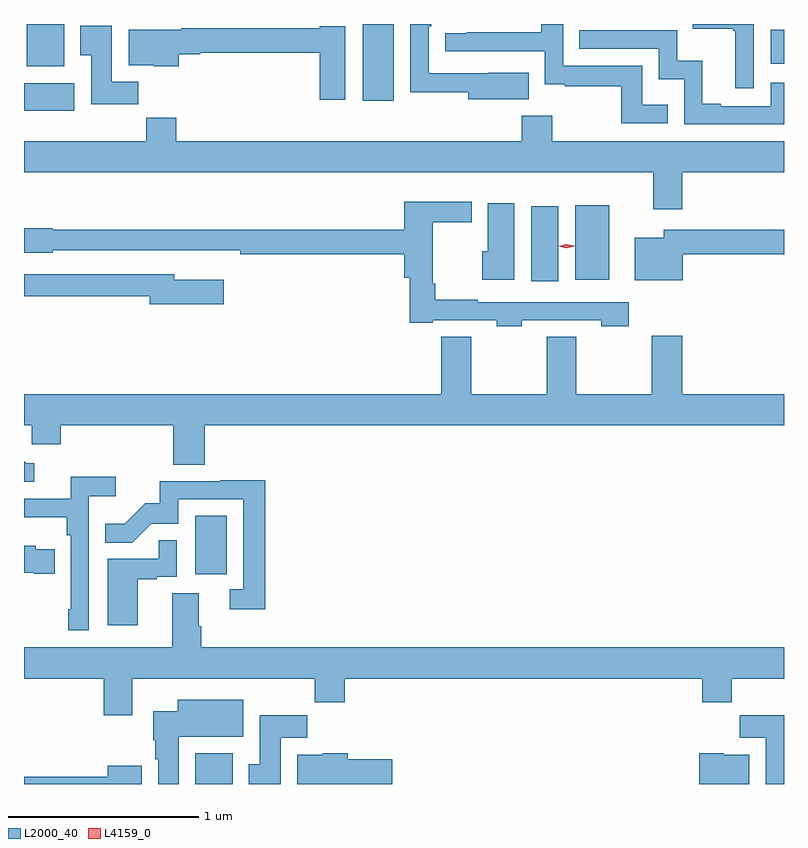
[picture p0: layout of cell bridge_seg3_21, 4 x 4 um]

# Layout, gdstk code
import gdstk
lib = gdstk.Library(unit=1e-6, precision=1e-09)
def R(c, l, rs):  # rectangles x0, y0, x1, y1
    for r in rs: c.add(gdstk.rectangle(r[:2], r[2:], *l))
def P(c, l, *ps):  # polygons
    for p in ps: c.add(gdstk.Polygon(p, *l))
L2000_40 = (2000, 40)
L4159_0 = (4159, 0)

bridge_seg3_21 = lib.new_cell('bridge_seg3_21')
R(bridge_seg3_21, L2000_40, [(838.466,744.317,838.663,744.478), (838.466,745.422,838.63,745.729), (840.233,746.964,840.376,747.358), (840.464,746.972,840.643,747.364), (837.564,747.86,837.829,748.006), (839.348,747.912,839.509,748.317), (837.579,748.094,837.775,748.317), (841.494,748.107,841.564,748.287)])
P(bridge_seg3_21, L2000_40, [(840.953,747.892),(840.819,747.892),(840.819,748.098),(840.402,748.098),(840.402,748.317),(840.286,748.317),(840.286,748.274),(839.893,748.274),(839.893,748.269),(839.781,748.269),(839.781,748.173),(840.306,748.173),(840.306,748.001),(840.409,748.001),(840.409,747.99),(840.708,747.99),(840.708,747.795),(840.953,747.795)],
  [(841.404,748.317),(841.083,748.317),(841.083,748.292),(841.296,748.292),(841.296,748.281),(841.307,748.281),(841.307,747.978),(841.404,747.978)],
  [(840.221,748.06),(840.007,748.06),(840.007,748.059),(839.694,748.059),(839.694,748.304),(839.708,748.304),(839.708,748.317),(839.598,748.317),(839.598,747.958),(839.903,747.958),(839.903,747.92),(840.221,747.92)],
  [(838.166,748.012),(838.027,748.012),(838.027,748.309),(837.86,748.309),(837.86,748.153),(837.917,748.153),(837.917,747.894),(838.166,747.894)],
  [(839.254,748.306),(839.12,748.306),(839.12,748.295),(838.391,748.295),(838.391,748.288),(838.115,748.288),(838.115,748.1),(838.248,748.1),(838.248,748.094),(838.379,748.094),(838.379,748.159),(838.491,748.159),(838.491,748.167),(839.12,748.167),(839.12,747.918),(839.254,747.918)],
  [(841.564,748.008),(841.494,748.008),(841.494,747.885),(841.231,747.885),(841.231,747.898),(841.135,747.898),(841.135,748.123),(841.002,748.123),(841.002,748.284),(840.487,748.284),(840.487,748.188),(840.906,748.188),(840.906,748.025),(841.038,748.025),(841.038,747.789),(841.564,747.789)],
  [(841.028,747.536),(841.564,747.536),(841.564,747.7),(840.345,747.7),(840.345,747.835),(840.185,747.835),(840.185,747.7),(838.364,747.7),(838.364,747.824),(838.207,747.824),(838.207,747.7),(837.564,747.7),(837.564,747.536),(840.875,747.536),(840.875,747.342),(841.028,747.342)],
  [(840.183,746.757),(840.603,746.757),(840.603,746.725),(840.748,746.725),(840.748,746.853),(839.951,746.853),(839.951,746.866),(839.729,746.866),(839.729,746.95),(839.714,746.95),(839.714,747.273),(839.92,747.273),(839.92,747.382),(839.564,747.382),(839.564,747.235),(837.714,747.235),(837.714,747.243),(837.564,747.243),(837.564,747.113),(837.714,747.113),(837.714,747.126),(838.45,747.126),(838.45,747.125),(838.702,747.125),(838.702,747.106),(839.564,747.106),(839.564,746.981),(839.593,746.981),(839.593,746.745),(839.716,746.745),(839.716,746.757),(840.051,746.757),(840.051,746.725),(840.183,746.725)],
  [(840.145,747.373),(840.005,747.373),(840.005,747.12),(839.975,747.12),(839.975,746.972),(840.145,746.972)],
  [(841.03,747.106),(841.564,747.106),(841.564,747.235),(840.932,747.235),(840.932,747.193),(840.779,747.193),(840.779,746.969),(841.03,746.969)],
  [(838.615,746.971),(838.354,746.971),(838.354,747),(837.564,747),(837.564,746.884),(838.226,746.884),(838.226,746.842),(838.615,746.842)],
  [(838.514,746.204),(841.564,746.204),(841.564,746.368),(841.028,746.368),(841.028,746.677),(840.868,746.677),(840.868,746.368),(840.47,746.368),(840.47,746.672),(840.316,746.672),(840.316,746.368),(839.918,746.368),(839.918,746.672),(839.759,746.672),(839.759,746.368),(837.564,746.368),(837.564,746.204),(837.606,746.204),(837.606,746.106),(837.758,746.106),(837.758,746.204),(838.349,746.204),(838.349,745.996),(838.514,745.996)],
  [(837.619,746.004),(837.576,746.004),(837.564,746.016),(837.564,745.908),(837.619,745.908)],
  [(837.906,745.832),(838.048,745.832),(838.048,745.934),(837.809,745.934),(837.809,745.818),(837.564,745.818),(837.564,745.721),(837.79,745.721),(837.79,745.625),(837.81,745.625),(837.81,745.237),(837.798,745.237),(837.798,745.125),(837.906,745.125)],
  [(838.835,745.916),(838.597,745.916),(838.597,745.911),(838.279,745.911),(838.279,745.794),(838.202,745.794),(838.095,745.687),(837.991,745.687),(837.991,745.588),(838.135,745.588),(838.233,745.686),(838.377,745.686),(838.377,745.815),(838.719,745.815),(838.719,745.341),(838.647,745.341),(838.647,745.236),(838.835,745.236)],
  [(838.162,745.395),(838.262,745.395),(838.262,745.407),(838.368,745.407),(838.368,745.601),(838.273,745.601),(838.273,745.503),(838.004,745.503),(838.004,745.152),(838.162,745.152)],
  [(837.725,745.552),(837.627,745.552),(837.627,745.57),(837.564,745.57),(837.564,745.43),(837.614,745.43),(837.614,745.423),(837.725,745.423)],
  [(838.135,744.872),(839.095,744.872),(839.095,744.748),(839.252,744.748),(839.252,744.872),(841.133,744.872),(841.133,744.748),(841.289,744.748),(841.289,744.872),(841.564,744.872),(841.564,745.036),(838.496,745.036),(838.496,745.148),(838.483,745.148),(838.483,745.322),(838.343,745.322),(838.343,745.036),(837.564,745.036),(837.564,744.872),(837.983,744.872),(837.983,744.678),(838.135,744.678)],
  [(838.378,744.566),(838.717,744.566),(838.717,744.76),(838.373,744.76),(838.373,744.7),(838.244,744.7),(838.244,744.546),(838.256,744.546),(838.256,744.446),(838.271,744.446),(838.271,744.317),(838.378,744.317)],
  [(841.564,744.679),(841.33,744.679),(841.33,744.56),(841.469,744.56),(841.469,744.317),(841.564,744.317)],
  [(838.915,744.56),(839.054,744.56),(839.054,744.678),(838.805,744.678),(838.805,744.42),(838.748,744.42),(838.748,744.317),(838.915,744.317)],
  [(839.503,744.447),(839.267,744.447),(839.267,744.478),(839.136,744.478),(839.136,744.472),(839.003,744.472),(839.003,744.317),(839.503,744.317)],
  [(841.381,744.472),(841.248,744.472),(841.248,744.478),(841.118,744.478),(841.118,744.317),(841.381,744.317)],
  [(838.183,744.412),(838.004,744.412),(838.004,744.356),(837.564,744.356),(837.564,744.317),(838.183,744.317)])
P(bridge_seg3_21, L4159_0, [(840.419,747.138),(840.379,747.148),(840.379,747.148),(840.379,747.148),(840.419,747.158),(840.46,747.149),(840.46,747.148),(840.46,747.148)])

lib.write_gds('bridge_seg3_21.gds')
